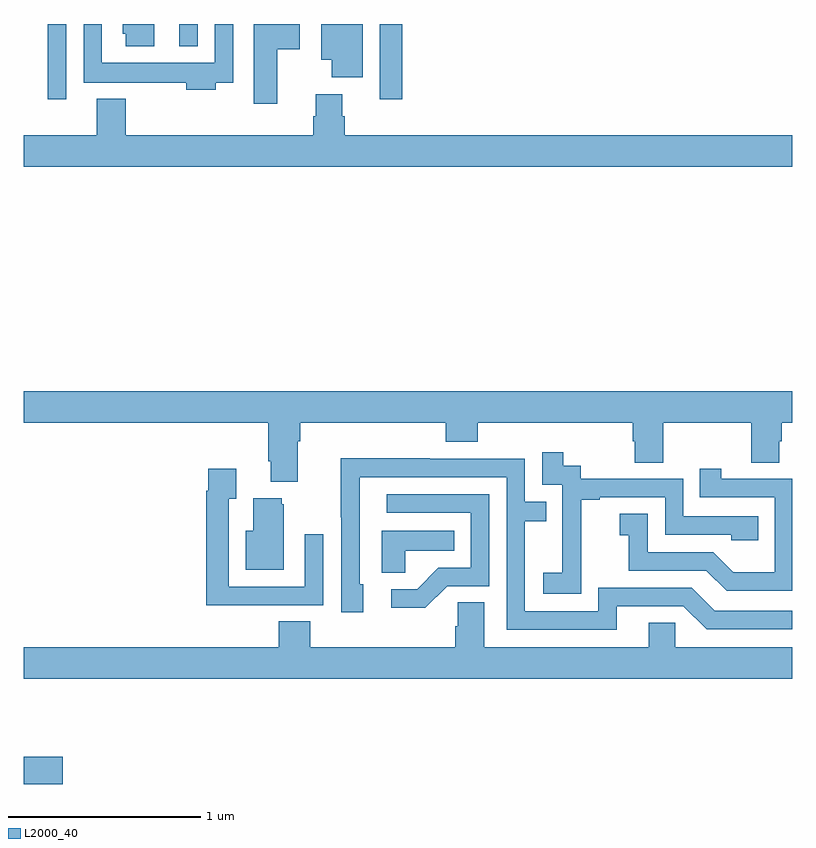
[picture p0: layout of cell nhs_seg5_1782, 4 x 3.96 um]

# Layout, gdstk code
import gdstk
lib = gdstk.Library(unit=1e-6, precision=1e-09)
def R(c, l, rs):  # rectangles x0, y0, x1, y1
    for r in rs: c.add(gdstk.rectangle(r[:2], r[2:], *l))
def P(c, l, *ps):  # polygons
    for p in ps: c.add(gdstk.Polygon(p, *l))
L2000_40 = (2000, 40)

nhs_seg5_1782 = lib.new_cell('nhs_seg5_1782')
R(nhs_seg5_1782, L2000_40, [(217,890.843,217.204,890.985), (217.124,894.408,217.221,894.799), (218.853,894.408,218.969,894.799), (217.808,894.683,217.905,894.799)])
P(nhs_seg5_1782, L2000_40, [(217.999,894.492),(218.091,894.492),(218.091,894.799),(217.995,894.799),(217.995,894.598),(217.407,894.598),(217.407,894.799),(217.311,894.799),(217.311,894.494),(217.615,894.494),(217.615,894.492),(217.847,894.492),(217.847,894.458),(217.999,894.458)],
  [(218.32,894.667),(218.437,894.667),(218.437,894.799),(218.198,894.799),(218.198,894.384),(218.32,894.384)],
  [(218.764,894.799),(218.549,894.799),(218.549,894.614),(218.603,894.614),(218.603,894.521),(218.764,894.521)],
  [(217.678,894.799),(217.514,894.799),(217.514,894.747),(217.532,894.747),(217.532,894.684),(217.678,894.684)],
  [(221,894.22),(218.672,894.22),(218.672,894.318),(218.659,894.318),(218.659,894.433),(218.519,894.433),(218.519,894.318),(218.507,894.318),(218.507,894.22),(217.532,894.22),(217.532,894.409),(217.379,894.409),(217.379,894.22),(217,894.22),(217,894.056),(221,894.056)],
  [(218.425,892.628),(218.438,892.628),(218.438,892.724),(219.197,892.724),(219.197,892.625),(219.362,892.625),(219.362,892.724),(220.169,892.724),(220.169,892.626),(220.181,892.626),(220.181,892.516),(220.329,892.516),(220.329,892.724),(220.786,892.724),(220.786,892.516),(220.933,892.516),(220.933,892.626),(220.946,892.626),(220.946,892.724),(221,892.724),(221,892.888),(217,892.888),(217,892.724),(218.273,892.724),(218.273,892.522),(218.285,892.522),(218.285,892.415),(218.425,892.415)],
  [(219.903,892.039),(219.902,892.039),(219.902,892.323),(219.997,892.323),(219.997,892.335),(220.338,892.335),(220.338,892.14),(220.683,892.14),(220.683,892.113),(220.823,892.113),(220.823,892.236),(220.434,892.236),(220.434,892.431),(219.9,892.431),(219.9,892.5),(219.808,892.5),(219.808,892.57),(219.699,892.57),(219.699,892.401),(219.804,892.401),(219.804,892.172),(219.803,892.172),(219.803,891.943),(219.705,891.943),(219.705,891.833),(219.903,891.833)],
  [(220.087,891.768),(220.434,891.768),(220.554,891.648),(221,891.648),(221,891.744),(220.596,891.744),(220.476,891.864),(219.99,891.864),(219.99,891.741),(219.609,891.741),(219.609,892.21),(219.719,892.21),(219.719,892.311),(219.609,892.311),(219.609,892.536),(219.113,892.536),(219.113,892.538),(218.65,892.538),(218.65,892.231),(218.652,892.231),(218.652,891.738),(218.767,891.738),(218.767,891.882),(218.748,891.882),(218.748,892.44),(219.513,892.44),(219.513,891.645),(220.087,891.645)],
  [(218.243,891.774),(218.559,891.774),(218.559,892.144),(218.463,892.144),(218.463,891.87),(218.067,891.87),(218.067,892.327),(218.107,892.327),(218.107,892.483),(217.959,892.483),(217.959,892.37),(217.951,892.37),(217.951,891.773),(218.243,891.773)],
  [(221,892.431),(220.63,892.431),(220.63,892.483),(220.519,892.483),(220.519,892.335),(220.908,892.335),(220.908,891.946),(220.694,891.946),(220.59,892.05),(220.248,892.05),(220.248,892.249),(220.101,892.249),(220.101,892.139),(220.15,892.139),(220.15,891.954),(220.553,891.954),(220.658,891.849),(221,891.849)],
  [(219.204,891.873),(219.423,891.873),(219.423,892.35),(218.889,892.35),(218.889,892.254),(219.327,892.254),(219.327,891.969),(219.158,891.969),(219.047,891.858),(218.913,891.858),(218.913,891.761),(219.091,891.761)],
  [(218.353,892.299),(218.342,892.299),(218.342,892.33),(218.195,892.33),(218.195,892.162),(218.156,892.162),(218.156,891.959),(218.353,891.959)],
  [(218.985,892.058),(219.242,892.058),(219.242,892.162),(218.864,892.162),(218.864,891.943),(218.985,891.943)],
  [(221,891.556),(220.392,891.556),(220.392,891.683),(220.253,891.683),(220.253,891.556),(219.397,891.556),(219.397,891.788),(219.258,891.788),(219.258,891.665),(219.245,891.665),(219.245,891.556),(218.492,891.556),(218.492,891.689),(218.327,891.689),(218.327,891.556),(217,891.556),(217,891.392),(221,891.392)])

lib.write_gds('nhs_seg5_1782.gds')
